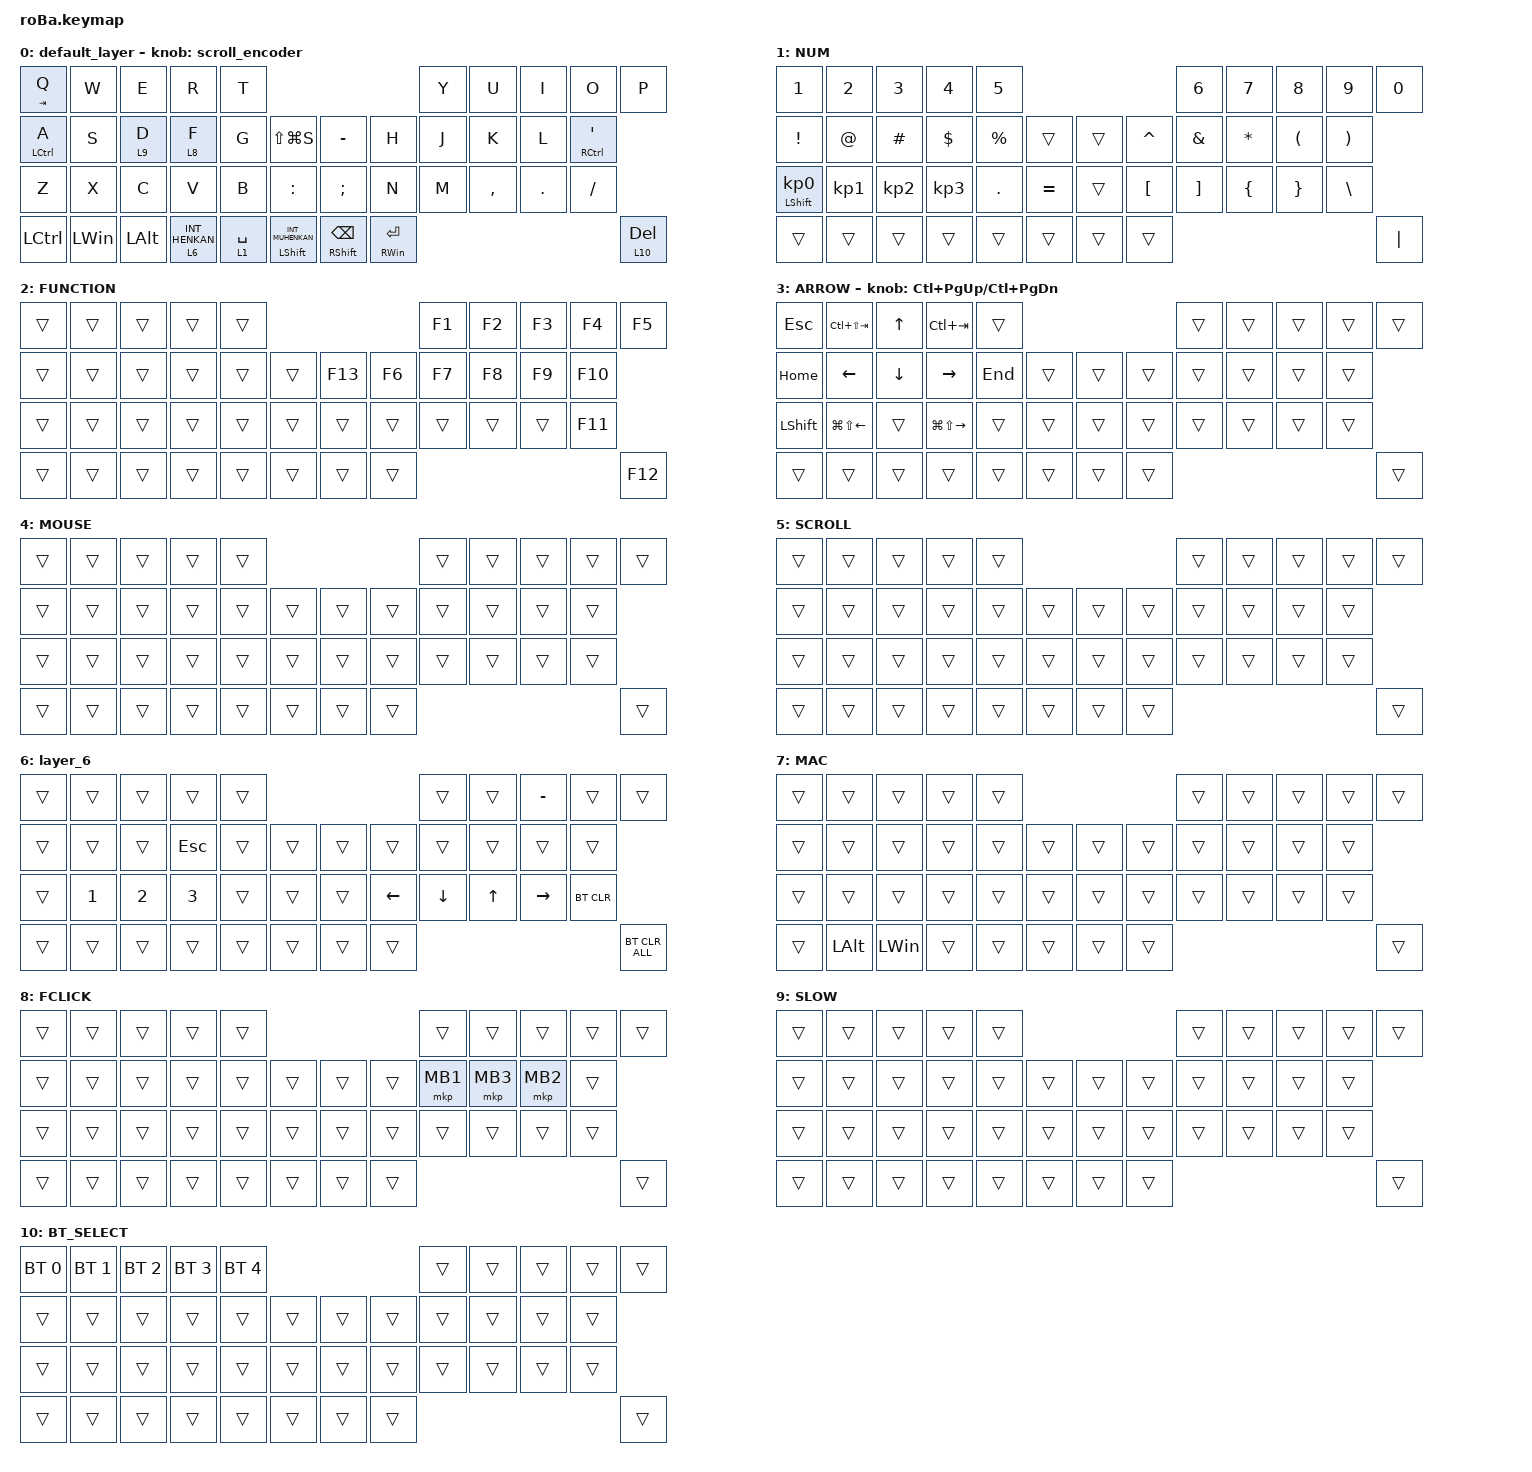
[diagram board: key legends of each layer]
#include <behaviors.dtsi>
#include <dt-bindings/zmk/bt.h>
#include <dt-bindings/zmk/keys.h>
#include <dt-bindings/zmk/pointing.h>

&mt {
    flavor = "hold-preferred";
    quick-tap-ms = <0>;
};

&trackball {
    // FCLICK (8) turns vertical movement into scroll while F is held.
    scroll-layers = <8>;
    // SLOW (9) uses precise pointer movement while D is held.
    snipe-layers = <9>;

    // arrows {
    //     layers = <3>;
    //     bindings =
    //         <&kp RIGHT_ARROW>,
    //         <&kp LEFT_ARROW>,
    //         <&kp UP_ARROW>,
    //         <&kp DOWN_ARROW>;

    //     tick = <10>;
    //     wait-ms = <5>;
    //     tap-ms = <5>;
    // };
};

/ {
    combos {
        compatible = "zmk,combos";

        tab {
            bindings = <&kp TAB>;
            key-positions = <11 12>;
        };

        shift_tab {
            bindings = <&kp LS(TAB)>;
            key-positions = <12 13>;
        };

        muhennkann {
            bindings = <&to_layer_0 INT_MUHENKAN>;
            key-positions = <11 10>;
        };

        double_quotation {
            bindings = <&kp DOUBLE_QUOTES>;
            key-positions = <20 21>;
        };

        eq {
            bindings = <&kp EQUAL>;
            key-positions = <24 25>;
        };
        os_mode {
            bindings = <&tog 7>;
            key-positions = <12 19>;
            timeout-ms = <100>;
            slow-release;
        };

    };

    macros {
        to_layer_0: to_layer_0 {
            compatible = "zmk,behavior-macro-one-param";
            #binding-cells = <1>;
            bindings = <&to 0 &macro_param_1to1 &kp MACRO_PLACEHOLDER>;
            label = "TO_LAYER_0";
        };


    };

    behaviors {
        scroll_encoder: scroll_encoder {
            compatible = "zmk,behavior-sensor-rotate";
            #sensor-binding-cells = <0>;
            tap-ms = <20>;
            bindings = <&msc MOVE_Y(-64)>, <&msc MOVE_Y(64)>;
        };

        lt_to_layer_0: lt_to_layer_0 {
            compatible = "zmk,behavior-hold-tap";
            label = "LAYER_TAP_TO_0";
            bindings = <&mo>, <&to_layer_0>;

            #binding-cells = <2>;
            tapping-term-ms = <200>;
        };

        lt_fclick: lt_fclick {
            compatible = "zmk,behavior-hold-tap";
            label = "LT_FCLICK";
            bindings = <&mo>, <&kp>;

            #binding-cells = <2>;
            flavor = "tap-preferred";
            tapping-term-ms = <200>;
            quick-tap-ms = <0>;
        };
        lt_slow: lt_slow {
            compatible = "zmk,behavior-hold-tap";
            label = "LT_SLOW";
            bindings = <&mo>, <&kp>;

            #binding-cells = <2>;
            flavor = "tap-preferred";
            tapping-term-ms = <200>;
            quick-tap-ms = <0>;
        };


        ht_q_tab: ht_q_tab {
            compatible = "zmk,behavior-hold-tap";
            label = "HT_Q_TAB";
            bindings = <&kp>, <&kp>;

            #binding-cells = <2>;
            flavor = "tap-preferred";
            tapping-term-ms = <200>;
            quick-tap-ms = <0>;
        };

        ht_a_caps: ht_a_caps {
            compatible = "zmk,behavior-hold-tap";
            label = "HT_A_CAPS";
            bindings = <&kp>, <&kp>;

            #binding-cells = <2>;
            flavor = "tap-preferred";
            tapping-term-ms = <200>;
            quick-tap-ms = <0>;
            require-prior-idle-ms = <125>;
        };
        ht_backspace_shift: ht_backspace_shift {
            compatible = "zmk,behavior-hold-tap";
            label = "HT_BACKSPACE_SHIFT";
            bindings = <&kp>, <&kp>;

            #binding-cells = <2>;
            flavor = "hold-preferred";
            tapping-term-ms = <250>;
            quick-tap-ms = <0>;
        };
        ht_enter_right_command: ht_enter_right_command {
            compatible = "zmk,behavior-hold-tap";
            label = "HT_ENTER_RIGHT_COMMAND";
            bindings = <&kp>, <&kp>;

            #binding-cells = <2>;
            flavor = "hold-preferred";
            tapping-term-ms = <250>;
            quick-tap-ms = <0>;
        };
        ht_muhenkan_shift: ht_muhenkan_shift {
            compatible = "zmk,behavior-hold-tap";
            label = "HT_MUHENKAN_SHIFT";
            bindings = <&kp>, <&to_layer_0>;

            #binding-cells = <2>;
            flavor = "hold-preferred";
            tapping-term-ms = <250>;
            quick-tap-ms = <0>;
        };
        lt_bt_select: lt_bt_select {
            compatible = "zmk,behavior-hold-tap";
            label = "LT_BT_SELECT";
            bindings = <&mo>, <&kp>;

            #binding-cells = <2>;
            flavor = "hold-preferred";
            tapping-term-ms = <250>;
            quick-tap-ms = <0>;
        };






    };

    keymap {
        compatible = "zmk,keymap";

        default_layer {
            bindings = <
&ht_q_tab TAB Q    &kp W         &kp E         &kp R                        &kp T                                                          &kp Y        &kp U  &kp I      &kp O    &kp P
&ht_a_caps LEFT_CONTROL A  &kp S     &lt_slow 9 D   &lt_fclick 8 F                &kp G        &kp LS(LG(S))                      &kp MINUS      &kp H        &kp J  &kp K      &kp L    &mt RIGHT_CONTROL SQT
&kp Z                     &kp X     &kp C         &kp V                        &kp B        &kp COLON                          &kp SEMICOLON  &kp N        &kp M  &kp COMMA  &kp DOT  &kp SLASH
&kp LCTRL         &kp LEFT_WIN  &kp LEFT_ALT  &lt_to_layer_0 6 INT_HENKAN  &lt 1 SPACE  &ht_muhenkan_shift LEFT_SHIFT INT_MUHENKAN  &ht_backspace_shift RIGHT_SHIFT BACKSPACE  &ht_enter_right_command RIGHT_WIN ENTER    &lt_bt_select 10 DEL
            >;

            sensor-bindings = <&scroll_encoder>;
        };

        NUM {
            bindings = <
&kp NUMBER_1                &kp NUMBER_2     &kp NUMBER_3     &kp NUMBER_4     &kp NUMBER_5                                               &kp NUMBER_6      &kp NUMBER_7       &kp NUMBER_8    &kp NUMBER_9          &kp NUMBER_0
&kp EXCLAMATION             &kp AT_SIGN      &kp HASH         &kp DOLLAR       &kp PERCENT   &trans                        &trans          &kp CARET  &kp AMPERSAND  &kp ASTERISK  &kp LEFT_PARENTHESIS  &kp RIGHT_PARENTHESIS
&mt LEFT_SHIFT KP_NUMBER_0  &kp KP_NUMBER_1  &kp KP_NUMBER_2  &kp KP_NUMBER_3  &kp PERIOD    &kp EQUAL                    &trans          &kp LEFT_BRACKET  &kp RIGHT_BRACKET  &kp LEFT_BRACE  &kp RIGHT_BRACE       &kp BACKSLASH
&trans                      &trans           &trans           &trans           &trans        &trans                       &trans          &trans                                                                     &kp PIPE
            >;
        };

        FUNCTION {
            bindings = <
&trans  &trans  &trans  &trans  &trans                       &kp F1  &kp F2  &kp F3  &kp F4  &kp F5
&trans  &trans  &trans  &trans  &trans  &trans      &kp F13  &kp F6  &kp F7  &kp F8  &kp F9  &kp F10
&trans  &trans  &trans  &trans  &trans  &trans      &trans   &trans  &trans  &trans  &trans  &kp F11
&trans  &trans  &trans  &trans  &trans  &trans      &trans   &trans                          &kp F12
            >;
        };

        ARROW {
            bindings = <
&kp ESCAPE      &kp LC(LS(TAB))         &kp UP_ARROW    &kp LC(TAB)              &trans                       &trans  &trans  &trans  &trans  &trans
&kp HOME        &kp LEFT_ARROW          &kp DOWN_ARROW  &kp RIGHT_ARROW          &kp END  &trans      &trans  &trans  &trans  &trans  &trans  &trans
&kp LEFT_SHIFT  &kp LG(LS(LEFT_ARROW))  &trans          &kp LG(LS(RIGHT_ARROW))  &trans   &trans      &trans  &trans  &trans  &trans  &trans  &trans
&trans          &trans                  &trans          &trans                   &trans   &trans      &trans  &trans                          &trans
            >;

            sensor-bindings = <&inc_dec_kp LC(PAGE_UP) LC(PAGE_DOWN)>;
        };

        MOUSE {
            bindings = <
&trans  &trans  &trans  &trans  &trans                      &trans  &trans    &trans    &trans    &trans
&trans  &trans  &trans  &trans  &trans  &trans      &trans  &trans  &trans    &trans    &trans    &trans
&trans  &trans  &trans  &trans  &trans  &trans      &trans  &trans  &trans    &trans    &trans    &trans
&trans  &trans  &trans  &trans  &trans  &trans      &trans  &trans                                &trans
            >;
        };

        SCROLL {
            bindings = <
&trans  &trans  &trans  &trans  &trans                      &trans  &trans  &trans  &trans  &trans
&trans  &trans  &trans  &trans  &trans  &trans      &trans  &trans  &trans  &trans  &trans  &trans
&trans  &trans  &trans  &trans  &trans  &trans      &trans  &trans  &trans  &trans  &trans  &trans
&trans  &trans  &trans  &trans  &trans  &trans      &trans  &trans                          &trans
            >;
        };

        layer_6 {
            bindings = <
&trans        &trans        &trans        &trans        &trans                       &trans  &trans  &kp MINUS  &trans  &trans
&trans  &trans        &trans        &kp ESC       &trans  &trans      &trans       &trans        &trans        &trans        &trans        &trans
&trans  &kp NUMBER_1  &kp NUMBER_2  &kp NUMBER_3  &trans  &trans      &trans       &kp LEFT_ARROW  &kp DOWN_ARROW  &kp UP_ARROW  &kp RIGHT_ARROW  &bt BT_CLR
&trans  &trans        &trans        &trans        &trans  &trans      &trans       &trans                                                  &bt BT_CLR_ALL
            >;
        };

        MAC {
            bindings = <
&trans  &trans       &trans      &trans  &trans  &trans  &trans  &trans  &trans  &trans
&trans  &trans       &trans      &trans  &trans  &trans  &trans  &trans  &trans  &trans  &trans  &trans
&trans  &trans       &trans      &trans  &trans  &trans  &trans  &trans  &trans  &trans  &trans  &trans
&trans  &kp LEFT_ALT &kp LEFT_WIN &trans  &trans  &trans  &trans  &trans  &trans
            >;
        };
        FCLICK {
            bindings = <
&trans  &trans  &trans  &trans  &trans                      &trans  &trans  &trans  &trans  &trans
&trans  &trans  &trans  &trans  &trans  &trans      &trans  &trans  &mkp MB1  &mkp MB3  &mkp MB2  &trans
&trans  &trans  &trans  &trans  &trans  &trans      &trans  &trans  &trans    &trans  &trans  &trans
&trans  &trans  &trans  &trans  &trans  &trans      &trans  &trans                          &trans
            >;
        };
        SLOW {
            bindings = <
&trans  &trans  &trans  &trans  &trans                      &trans  &trans  &trans  &trans  &trans
&trans  &trans  &trans  &trans  &trans  &trans      &trans  &trans  &trans  &trans  &trans  &trans
&trans  &trans  &trans  &trans  &trans  &trans      &trans  &trans  &trans  &trans  &trans  &trans
&trans  &trans  &trans  &trans  &trans  &trans      &trans  &trans                          &trans
            >;
        };
        BT_SELECT {
            bindings = <
&bt BT_SEL 0  &bt BT_SEL 1  &bt BT_SEL 2  &bt BT_SEL 3  &bt BT_SEL 4               &trans  &trans  &trans  &trans  &trans
&trans        &trans        &trans        &trans        &trans  &trans      &trans  &trans  &trans  &trans  &trans  &trans
&trans        &trans        &trans        &trans        &trans  &trans      &trans  &trans  &trans  &trans  &trans  &trans
&trans        &trans        &trans        &trans        &trans  &trans      &trans  &trans                          &trans
            >;
        };
    };
};
